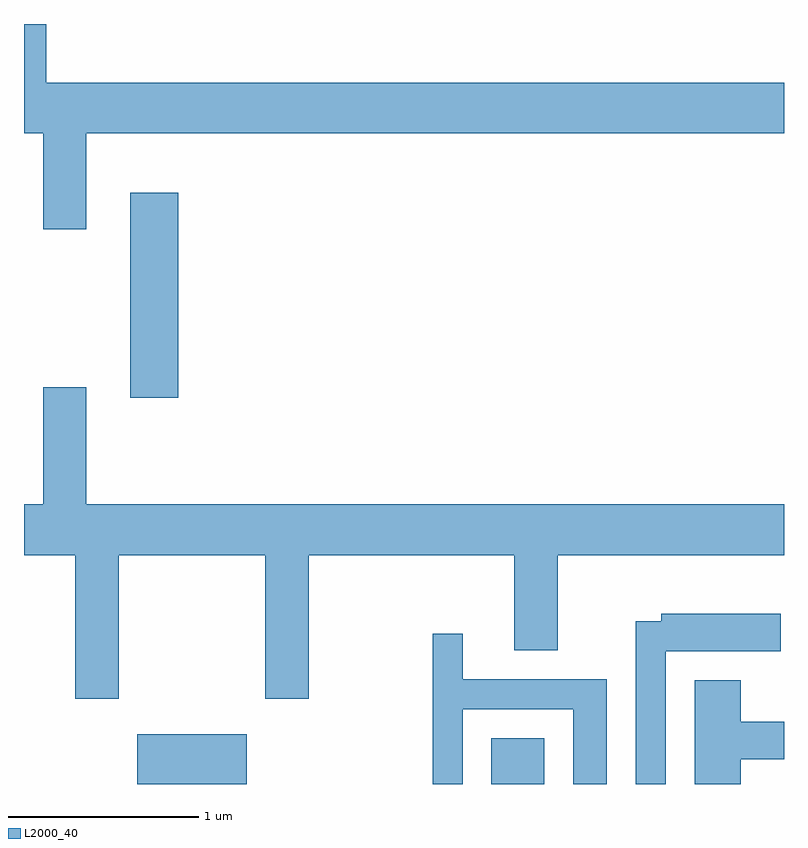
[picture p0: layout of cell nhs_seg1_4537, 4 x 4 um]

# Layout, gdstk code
import gdstk
lib = gdstk.Library(unit=1e-6, precision=1e-09)
def R(c, l, rs):  # rectangles x0, y0, x1, y1
    for r in rs: c.add(gdstk.rectangle(r[:2], r[2:], *l))
def P(c, l, *ps):  # polygons
    for p in ps: c.add(gdstk.Polygon(p, *l))
L2000_40 = (2000, 40)

nhs_seg1_4537 = lib.new_cell('nhs_seg1_4537')
R(nhs_seg1_4537, L2000_40, [(322.206,891.712,322.784,891.974), (324.071,891.712,324.349,891.954), (322.171,893.746,322.424,894.824)])
P(nhs_seg1_4537, L2000_40, [(321.611,895.136),(321.711,895.136),(321.711,894.631),(321.939,894.631),(321.939,895.136),(325.611,895.136),(325.611,895.404),(321.729,895.404),(321.729,895.712),(321.611,895.712)],
  [(321.939,893.799),(321.711,893.799),(321.711,893.184),(321.611,893.184),(321.611,892.916),(321.881,892.916),(321.881,892.161),(322.109,892.161),(322.109,892.916),(322.881,892.916),(322.881,892.161),(323.109,892.161),(323.109,892.916),(324.191,892.916),(324.191,892.416),(324.419,892.416),(324.419,892.916),(325.611,892.916),(325.611,893.184),(321.939,893.184)],
  [(324.989,892.411),(325.594,892.411),(325.594,892.609),(324.966,892.609),(324.966,892.569),(324.831,892.569),(324.831,891.712),(324.989,891.712)],
  [(323.919,892.106),(324.501,892.106),(324.501,891.712),(324.679,891.712),(324.679,892.264),(323.919,892.264),(323.919,892.503),(323.761,892.503),(323.761,891.712),(323.919,891.712)],
  [(325.384,891.841),(325.611,891.841),(325.611,892.039),(325.384,892.039),(325.384,892.259),(325.141,892.259),(325.141,891.712),(325.384,891.712)])

lib.write_gds('nhs_seg1_4537.gds')
